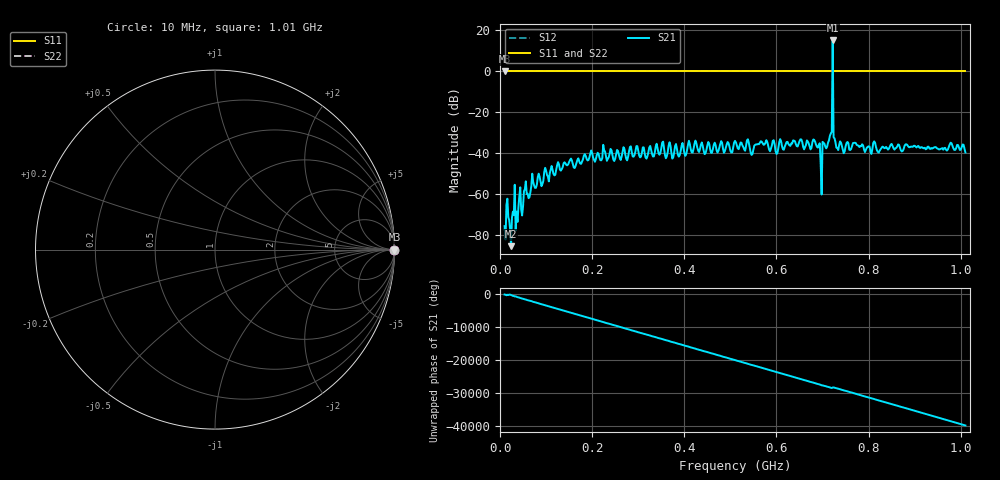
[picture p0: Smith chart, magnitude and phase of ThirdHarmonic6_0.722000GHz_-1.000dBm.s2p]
! 8/16/2025 12:09:13 AM
! C:\ANRITSUVNA\TEMP\TEMP.S2P
! CHANNEL.1
! TR.MEASUREMENT
! RAW.DATA
! RF.CORRECTION.OFF
! AVERAGING.OFF
! IF.BANDWIDTH: 5KHZ
! SWEEPTYPE:  FREQ.SWEEP(Linear)
! Reference Plane Port Info
! PORT:  PORT1  PORT2
! DISTANCE:  0  m  0  m
! TIME:  0  s  0  s
! PHASE.OFFSET:  0  deg.  0  deg.
! LOSS:  0  dB  0  dB
! REF.LOSS:  0  dB  0  dB
! REF.FREQ:  0  Hz  0  Hz
! Power Info
! POWER:  -20  dBm  -20  dBm
! EFF.POWER:  -20  dBm  -20  dBm
! SOURCE.ATTEN:  0  dB  0  dB
! TEST.ATTEN:  0  dB  0  dB
# GHZ S RI R 50.0
! FREQ.GHZ  S11RE  S11IM  S21RE  S21IM  S12RE  S12IM  S22RE  S22IM
!; PortSelection: Port_12
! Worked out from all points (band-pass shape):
!   501 points, 10 MHz to 1.01 GHz, reference 50 ohm
!   highest |S21| = 15.05 dB at 722 MHz (marker M1); lowest = -85.5 dB at 24 MHz (marker M2)
!   |S21| within 3 dB of the highest: 721.8655 MHz to 722.1266 MHz (261.1 kHz wide, 0.0362 % of centre)
!   lowest |S11| = 0.0 dB at 10 MHz (marker M3)
!   |S11| at or under -10 dB: nowhere
!   |S22| runs from 0.0 to 0.0 dB; largest |S21 - S12| = 5.3
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0.01  1 0  -0.000163 -7.2e-06  1 0  1 0
0.018  1 0  0.000244 0.000115  1 0  1 0
0.024  1 0  3.82e-05 3.66e-05  1 0  1 0
0.028  1 0  -0.000323 0.000181  1 0  1 0
0.072  1 0  -0.00145 0.00131  1 0  1 0
0.178  1 0  -0.00608 -0.000907  1 0  1 0
0.344  1 0  0.00411 -0.00905  1 0  1 0
0.51  1 0  -0.00397 0.0194  1 0  1 0
0.538  1 0  0.0166 0.014  1 0  1 0
0.546  1 0  0.0012 0.00894  1 0  1 0
0.566  1 0  0.0194 0.00149  1 0  1 0
0.6  1 0  0.00436 0.00846  1 0  1 0
0.678  1 0  -0.0185 0.000647  1 0  1 0
0.69  1 0  0.0103 0.00891  1 0  1 0
0.694  1 0  -0.00892 -0.0149  1 0  1 0
0.716  1 0  0.00465 0.0261  1 0  1 0
0.718  1 0  0.0295 -0.00618  1 0  1 0
0.722  1 0  2.677 4.984  1 0  1 0
0.726  1 0  0.0225 -0.00441  1 0  1 0
0.728  1 0  -0.00354 -0.0182  1 0  1 0
0.844  1 0  0.00824 -0.0098  1 0  1 0
1.01  1 0  0.00393 0.00959  1 0  1 0
